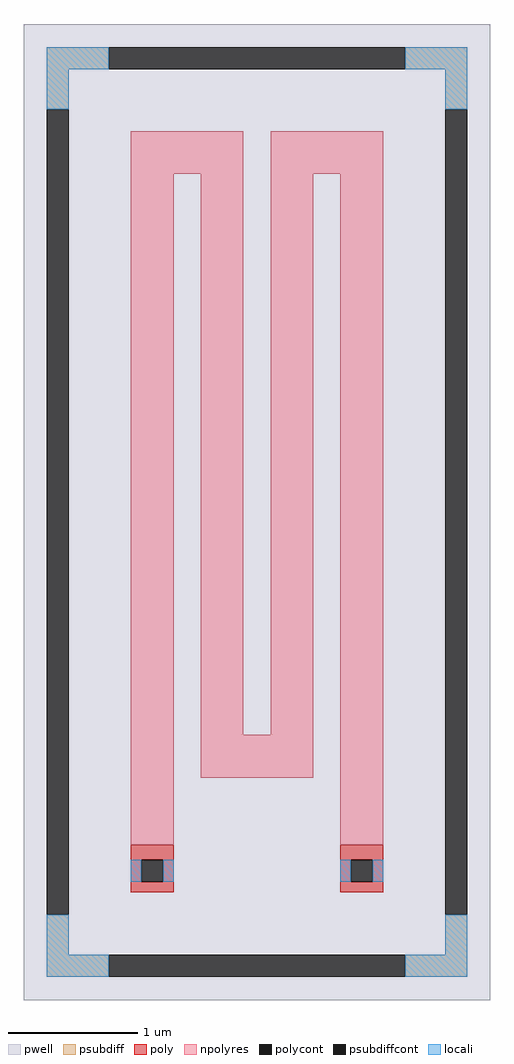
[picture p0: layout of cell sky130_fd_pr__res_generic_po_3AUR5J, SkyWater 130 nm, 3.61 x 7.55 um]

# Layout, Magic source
magic
tech sky130B
magscale 1 2
<< pwell >>
rect -361 -755 361 755
<< psubdiff >>
rect -325 685 -229 719
rect 229 685 325 719
rect -325 623 -291 685
rect 291 623 325 685
rect -325 -685 -291 -623
rect 291 -685 325 -623
rect -325 -719 -229 -685
rect 229 -719 325 -685
<< psubdiffcont >>
rect -229 685 229 719
rect -325 -623 -291 623
rect 291 -623 325 623
rect -229 -719 229 -685
<< poly >>
rect -195 -538 -129 -515
rect -195 -572 -179 -538
rect -145 -572 -129 -538
rect -195 -588 -129 -572
rect 129 -538 195 -515
rect 129 -572 145 -538
rect 179 -572 195 -538
rect 129 -588 195 -572
<< polycont >>
rect -179 -572 -145 -538
rect 145 -572 179 -538
<< npolyres >>
rect -195 523 -21 589
rect -195 -515 -129 523
rect -87 -345 -21 523
rect 21 523 195 589
rect 21 -345 87 523
rect -87 -411 87 -345
rect 129 -515 195 523
<< locali >>
rect -325 685 -229 719
rect 229 685 325 719
rect -325 623 -291 685
rect 291 623 325 685
rect -195 -572 -179 -538
rect -145 -572 -129 -538
rect 129 -572 145 -538
rect 179 -572 195 -538
rect -325 -685 -291 -623
rect 291 -685 325 -623
rect -325 -719 -229 -685
rect 229 -719 325 -685
<< properties >>
string FIXED_BBOX -308 -702 308 702
string gencell sky130_fd_pr__res_generic_po
string library sky130
string parameters w 0.33 l 5 m 1 nx 4 wmin 0.330 lmin 1.650 rho 48.2 val 3.241k dummy 0 dw 0.0 term 0.0 sterm 0.0 caplen 0.4 snake 1 guard 1 glc 1 grc 1 gtc 1 gbc 1 roverlap 0 endcov 100 full_metal 1 hv_guard 0 n_guard 0 vias 1 viagb 0 viagt 0 viagl 0 viagr 0
<< end >>
